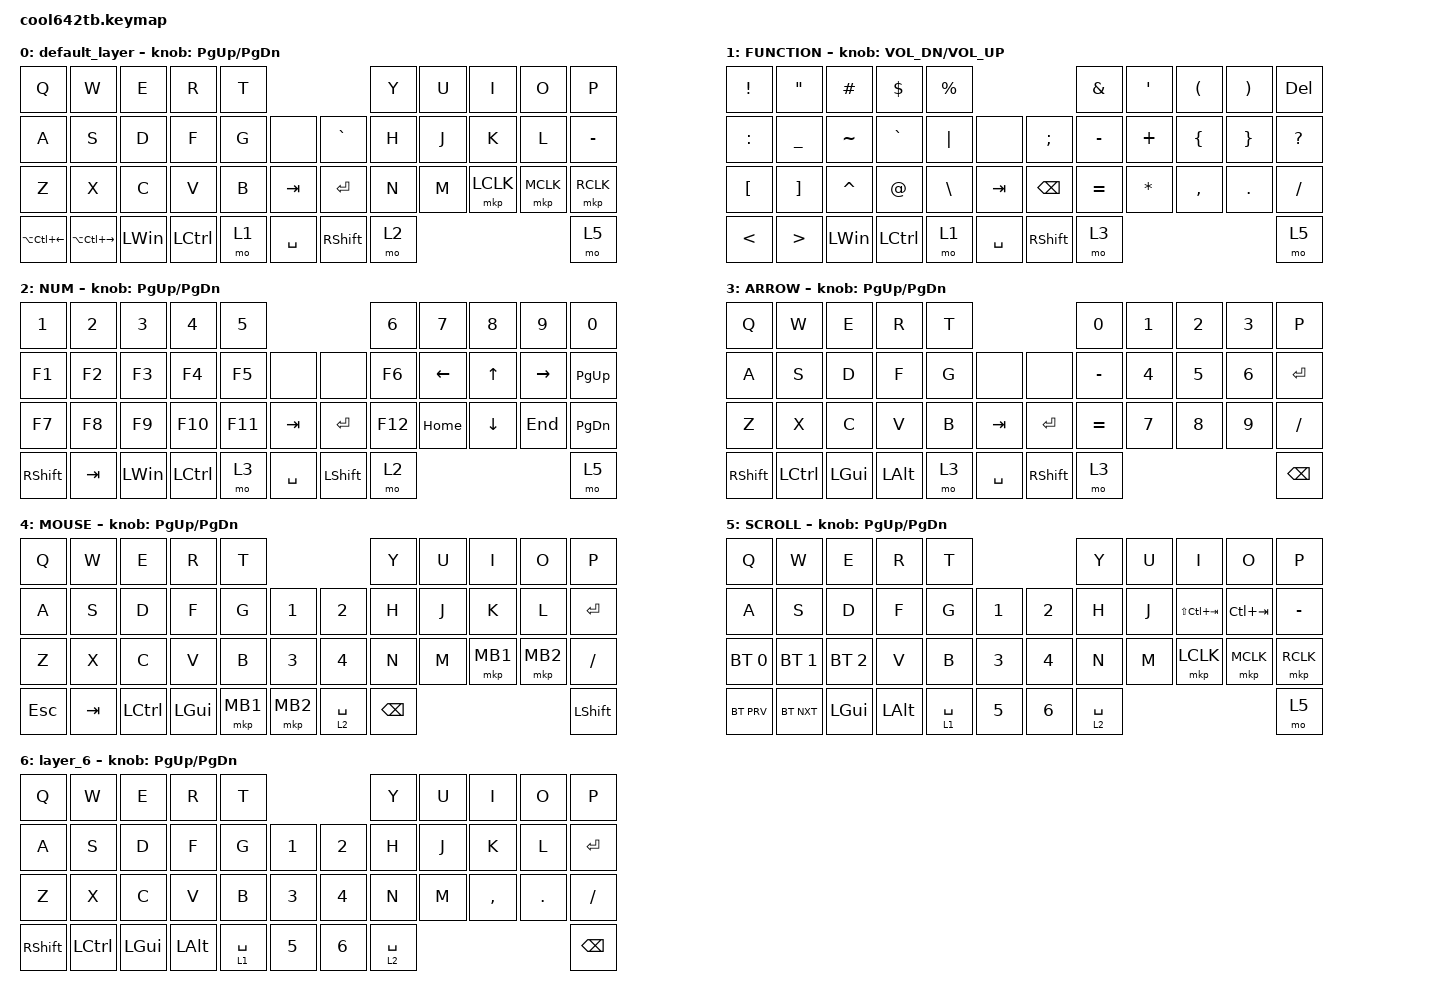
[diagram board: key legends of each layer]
#include <behaviors.dtsi>
#include <dt-bindings/zmk/bt.h>
#include <dt-bindings/zmk/keys.h>
#include <dt-bindings/zmk/pointing.h>

#define MOUSE 4
#define SCROLL 5
#define NUM 6

// OS設定を日本語キーボードのまま使用するための変換定義

#define JP_DQUOTE       AT                // "
#define JP_AMPERSAND    CARET             // &
#define JP_QUOTE        AMPERSAND         // '
#define JP_EQUAL        UNDER             // =
#define JP_CARET        EQUAL             // ^
#define JP_YEN          0x89              // ¥
#define JP_PLUS         COLON             // +
#define JP_TILDE        PLUS              // ~
#define JP_PIPE         LS(0x89)          // |
#define JP_AT           LEFT_BRACKET      // @
#define JP_COLON        SINGLE_QUOTE      // :
#define JP_ASTERISK     DOUBLE_QUOTES     // *
#define JP_BACKQUOTE    LEFT_BRACE        // `
#define JP_UNDERSCORE   LS(0x87)          // _
#define JP_LBRACKET     RIGHT_BRACKET     // [
#define JP_RBRACKET     BACKSLASH         // ]
#define JP_LPAREN       ASTERISK          // (
#define JP_RPAREN       LEFT_PARENTHESIS  // )
#define JP_LBRACE       RIGHT_BRACE       // {
#define JP_RBRACE       PIPE              // }
#define JP_KANA         LANGUAGE_1        // かな
#define JP_EISU         LANGUAGE_2        // 英数
#define JP_HANZEN       GRAVE             // 半角/全角

&mt {
    flavor = "balanced";
    quick-tap-ms = <0>;
};

/ {
    combos {
        compatible = "zmk,combos";

        comb1 {
            bindings = <&kp TAB>;
            key-positions = <11 10>;
        };

        comb2 {
            bindings = <&kp LS(ESCAPE)>;
            key-positions = <0 1>;
        };

        comb3 {
            bindings = <&kp CAPSLOCK>;
            key-positions = <22 23>;
        };

        comb4 {
            bindings = <&kp BACKSPACE>;
            key-positions = <9 8>;
        };

        comb5 {
            bindings = <&bt BT_CLR_ALL>;
            key-positions = <9 8>;
            timeout-ms = <0>;
            layers = <2>;
        };
    };

    macros {
        to_layer_0: to_layer_0 {
            compatible = "zmk,behavior-macro-one-param";
            #binding-cells = <1>;
            bindings = <&to 0 &macro_param_1to1 &kp MACRO_PLACEHOLDER>;
            label = "TO_LAYER_0";
        };
    };

    behaviors {
        lt_to_layer_0: lt_to_layer_0 {
            compatible = "zmk,behavior-hold-tap";
            label = "LAYER_TAP_TO_0";
            bindings = <&mo>, <&to_layer_0>;

            #binding-cells = <2>;
            tapping-term-ms = <200>;
        };
    };

    keymap {
        compatible = "zmk,keymap";

        default_layer {
            bindings = <
&kp Q                   &kp W                    &kp E         &kp R      &kp T                              &kp Y  &kp U  &kp I      &kp O      &kp P
&kp A                   &kp S                    &kp D         &kp F      &kp G  &none      &kp GRAVE        &kp H  &kp J  &kp K      &kp L      &kp MINUS
&kp Z                   &kp X                    &kp C         &kp V      &kp B  &kp TAB    &kp ENTER        &kp N  &kp M  &mkp LCLK  &mkp MCLK  &mkp RCLK
&kp LA(LC(LEFT_ARROW))  &kp LA(LC(RIGHT_ARROW))  &kp LEFT_WIN  &kp LCTRL  &mo 1  &kp SPACE  &kp RIGHT_SHIFT  &mo 2                               &mo 5
            >;

            sensor-bindings = <&inc_dec_kp PG_UP PAGE_DOWN>;
        };

        FUNCTION {
            bindings = <
&kp EXCLAMATION   &kp DOUBLE_QUOTES  &kp HASH      &kp DOLLAR   &kp PERCENT                                &kp AMPERSAND  &kp SQT       &kp LEFT_PARENTHESIS  &kp RIGHT_PARENTHESIS  &kp DELETE
&kp COLON         &kp UNDERSCORE     &kp TILDE     &kp GRAVE    &kp PIPE       &none      &kp SEMICOLON    &kp MINUS      &kp PLUS      &kp LEFT_BRACE        &kp RIGHT_BRACE        &kp QUESTION
&kp LEFT_BRACKET  &kp RIGHT_BRACKET  &kp CARET     &kp AT_SIGN  &kp BACKSLASH  &kp TAB    &kp BACKSPACE    &kp EQUAL      &kp ASTERISK  &kp COMMA             &kp PERIOD             &kp SLASH
&kp LESS_THAN     &kp GREATER_THAN   &kp LEFT_WIN  &kp LCTRL    &mo 1          &kp SPACE  &kp RIGHT_SHIFT  &mo 3                                                                     &mo 5
            >;

            sensor-bindings = <&inc_dec_kp C_VOL_DN C_VOL_UP>;
        };

        NUM {
            bindings = <
&kp NUMBER_1  &kp NUMBER_2  &kp NUMBER_3  &kp NUMBER_4  &kp N5                          &kp NUMBER_6  &kp N7          &kp N8          &kp N9     &kp N0
&kp F1        &kp F2        &kp F3        &kp F4        &kp F5   &none      &none       &kp F6        &kp LEFT_ARROW  &kp UP_ARROW    &kp RIGHT  &kp PAGE_UP
&kp F7        &kp F8        &kp F9        &kp F10       &kp F11  &kp TAB    &kp ENTER   &kp F12       &kp HOME        &kp DOWN_ARROW  &kp END    &kp PAGE_DOWN
&kp RSHIFT    &kp TAB       &kp LEFT_WIN  &kp LCTRL     &mo 3    &kp SPACE  &kp LSHIFT  &mo 2                                                    &mo 5
            >;

            sensor-bindings = <&inc_dec_kp PG_UP PAGE_DOWN>;
        };

        ARROW {
            bindings = <
&kp Q       &kp W      &kp E     &kp R     &kp T                              &kp N0     &kp NUMBER_1  &kp NUMBER_2  &kp NUMBER_3  &kp P
&kp A       &kp S      &kp D     &kp F     &kp G  &none      &none            &kp MINUS  &kp NUMBER_4  &kp N5        &kp NUMBER_6  &kp ENTER
&kp Z       &kp X      &kp C     &kp V     &kp B  &kp TAB    &kp ENTER        &kp EQUAL  &kp N7        &kp N8        &kp N9        &kp SLASH
&kp RSHIFT  &kp LCTRL  &kp LGUI  &kp LALT  &mo 3  &kp SPACE  &kp RIGHT_SHIFT  &mo 3                                                &kp BSPC
            >;

            sensor-bindings = <&inc_dec_kp PG_UP PAGE_DOWN>;
        };

        MOUSE {
            bindings = <
&kp Q       &kp W    &kp E             &kp R         &kp T                            &kp Y          &kp U  &kp I     &kp O     &kp P
&kp A       &kp S    &kp D             &kp F         &kp G     &kp N1    &kp N2       &kp H          &kp J  &kp K     &kp L     &kp ENTER
&kp Z       &kp X    &kp C             &kp V         &kp B     &kp N3    &kp N4       &kp N          &kp M  &mkp MB1  &mkp MB2  &kp SLASH
&kp ESCAPE  &kp TAB  &kp LEFT_CONTROL  &kp LEFT_GUI  &mkp MB1  &mkp MB2  &lt 2 SPACE  &kp BACKSPACE                             &kp LEFT_SHIFT
            >;

            sensor-bindings = <&inc_dec_kp PG_UP PAGE_DOWN>;
        };

        SCROLL {
            bindings = <
&kp Q         &kp W         &kp E         &kp R     &kp T                        &kp Y        &kp U  &kp I            &kp O        &kp P
&kp A         &kp S         &kp D         &kp F     &kp G        &kp N1  &kp N2  &kp H        &kp J  &kp LS(LC(TAB))  &kp LC(TAB)  &kp MINUS
&bt BT_SEL 0  &bt BT_SEL 1  &bt BT_SEL 2  &kp V     &kp B        &kp N3  &kp N4  &kp N        &kp M  &mkp LCLK        &mkp MCLK    &mkp RCLK
&bt BT_PRV    &bt BT_NXT    &kp LGUI      &kp LALT  &lt 1 SPACE  &kp N5  &kp N6  &lt 2 SPACE                                       &mo 5
            >;

            sensor-bindings = <&inc_dec_kp PG_UP PAGE_DOWN>;
        };

        layer_6 {
            bindings = <
&kp Q       &kp W      &kp E     &kp R     &kp T                        &kp Y        &kp U  &kp I      &kp O       &kp P
&kp A       &kp S      &kp D     &kp F     &kp G        &kp N1  &kp N2  &kp H        &kp J  &kp K      &kp L       &kp ENTER
&kp Z       &kp X      &kp C     &kp V     &kp B        &kp N3  &kp N4  &kp N        &kp M  &kp COMMA  &kp PERIOD  &kp SLASH
&kp RSHIFT  &kp LCTRL  &kp LGUI  &kp LALT  &lt 1 SPACE  &kp N5  &kp N6  &lt 2 SPACE                                &kp BSPC
            >;

            sensor-bindings = <&inc_dec_kp PG_UP PAGE_DOWN>;
        };
    };
};
